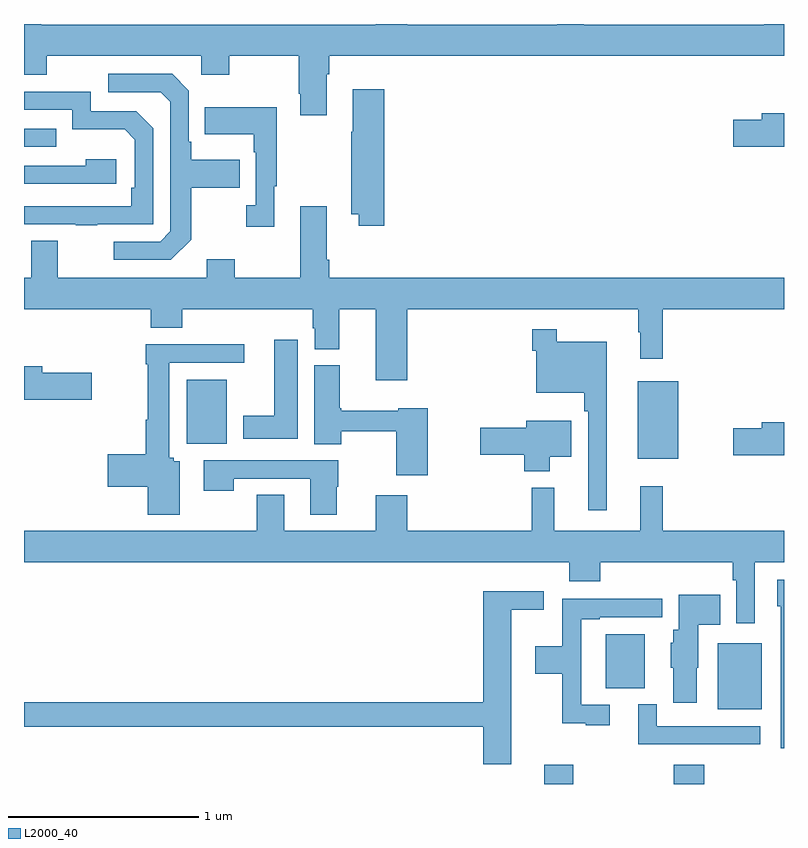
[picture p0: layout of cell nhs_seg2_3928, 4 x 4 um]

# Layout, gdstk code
import gdstk
lib = gdstk.Library(unit=1e-6, precision=1e-09)
def R(c, l, rs):  # rectangles x0, y0, x1, y1
    for r in rs: c.add(gdstk.rectangle(r[:2], r[2:], *l))
def P(c, l, *ps):  # polygons
    for p in ps: c.add(gdstk.Polygon(p, *l))
L2000_40 = (2000, 40)

nhs_seg2_3928 = lib.new_cell('nhs_seg2_3928')
R(nhs_seg2_3928, L2000_40, [(321.737,647.8,321.89,647.902), (322.421,647.8,322.581,647.902), (322.652,648.194,322.882,648.541), (322.061,648.305,322.267,648.589), (322.229,649.511,322.444,649.921), (319.856,649.592,320.068,649.927), (319,651.153,319.169,651.249)])
P(nhs_seg2_3928, L2000_40, [(320.593,651.536),(320.606,651.536),(320.606,651.632),(323,651.632),(323,651.8),(322.895,651.8),(322.895,651.796),(321.945,651.796),(321.945,651.8),(321.806,651.8),(321.806,651.796),(321.016,651.796),(321.016,651.8),(320.852,651.8),(320.852,651.796),(319.091,651.796),(319.091,651.8),(319,651.8),(319,651.533),(319.119,651.533),(319.119,651.632),(319.932,651.632),(319.932,651.533),(320.079,651.533),(320.079,651.632),(320.446,651.632),(320.446,651.433),(320.453,651.433),(320.453,651.321),(320.593,651.321)],
  [(319.879,650.665),(319.879,650.938),(320.135,650.938),(320.135,651.085),(319.879,651.085),(319.879,651.181),(319.866,651.181),(319.866,651.45),(319.779,651.537),(319.443,651.537),(319.443,651.441),(319.719,651.441),(319.77,651.39),(319.77,650.709),(319.716,650.655),(319.473,650.655),(319.473,650.559),(319.773,650.559)],
  [(320.897,651.457),(320.729,651.457),(320.729,651.233),(320.722,651.233),(320.722,650.798),(320.762,650.798),(320.762,650.739),(320.897,650.739)],
  [(319.385,650.745),(319.68,650.745),(319.68,651.252),(319.59,651.342),(319.35,651.342),(319.35,651.444),(319,651.444),(319,651.348),(319.254,651.348),(319.254,651.245),(319.531,651.245),(319.584,651.192),(319.584,650.938),(319.564,650.938),(319.564,650.841),(319,650.841),(319,650.745),(319.273,650.745),(319.273,650.74),(319.385,650.74)],
  [(320.317,650.945),(320.329,650.945),(320.329,651.361),(319.951,651.361),(319.951,651.221),(320.208,651.221),(320.208,651.125),(320.22,651.125),(320.22,650.846),(320.169,650.846),(320.169,650.733),(320.317,650.733)],
  [(323,651.331),(322.883,651.331),(322.883,651.297),(322.734,651.297),(322.734,651.155),(323,651.155)],
  [(319.486,651.088),(319.325,651.088),(319.325,651.054),(319,651.054),(319,650.958),(319.486,650.958)],
  [(321.016,650.3),(322.233,650.3),(322.233,650.177),(322.244,650.177),(322.244,650.037),(322.361,650.037),(322.361,650.3),(323,650.3),(323,650.464),(320.606,650.464),(320.606,650.56),(320.593,650.56),(320.593,650.842),(320.453,650.842),(320.453,650.464),(320.109,650.464),(320.109,650.563),(319.961,650.563),(319.961,650.464),(319.177,650.464),(319.177,650.659),(319.037,650.659),(319.037,650.464),(319,650.464),(319,650.3),(319.667,650.3),(319.667,650.201),(319.832,650.201),(319.832,650.3),(320.519,650.3),(320.519,650.199),(320.531,650.199),(320.531,650.089),(320.659,650.089),(320.659,650.3),(320.852,650.3),(320.852,649.926),(321.016,649.926)],
  [(322.066,650.128),(321.805,650.128),(321.805,650.194),(321.676,650.194),(321.676,650.081),(321.696,650.081),(321.696,649.859),(321.949,649.859),(321.949,649.763),(321.969,649.763),(321.969,649.242),(322.066,649.242)],
  [(320.44,650.137),(320.318,650.137),(320.318,649.738),(320.153,649.738),(320.153,649.616),(320.44,649.616)],
  [(319.819,649.5),(319.788,649.5),(319.788,649.518),(319.765,649.518),(319.765,650.016),(320.158,650.016),(320.158,650.114),(319.64,650.114),(319.64,650.009),(319.652,650.009),(319.652,649.718),(319.64,649.718),(319.64,649.535),(319.44,649.535),(319.44,649.364),(319.652,649.364),(319.652,649.218),(319.819,649.218)],
  [(321.124,649.777),(320.97,649.777),(320.97,649.765),(320.67,649.765),(320.67,649.777),(320.662,649.777),(320.662,650.004),(320.528,650.004),(320.528,649.588),(320.67,649.588),(320.67,649.656),(320.959,649.656),(320.959,649.425),(321.124,649.425)],
  [(319.357,649.965),(319.096,649.965),(319.096,649.999),(319,649.999),(319,649.823),(319.357,649.823)],
  [(321.766,649.523),(321.88,649.523),(321.88,649.711),(321.644,649.711),(321.644,649.676),(321.402,649.676),(321.402,649.534),(321.632,649.534),(321.632,649.445),(321.766,649.445)],
  [(323,649.703),(322.883,649.703),(322.883,649.673),(322.734,649.673),(322.734,649.531),(323,649.531)],
  [(320.647,649.365),(320.655,649.365),(320.655,649.503),(319.947,649.503),(319.947,649.344),(320.103,649.344),(320.103,649.407),(320.507,649.407),(320.507,649.218),(320.647,649.218)],
  [(322.845,648.968),(323,648.968),(323,649.132),(322.361,649.132),(322.361,649.366),(322.244,649.366),(322.244,649.132),(321.791,649.132),(321.791,649.36),(321.673,649.36),(321.673,649.132),(321.016,649.132),(321.016,649.321),(320.852,649.321),(320.852,649.132),(320.371,649.132),(320.371,649.322),(320.224,649.322),(320.224,649.132),(319,649.132),(319,648.968),(321.869,648.968),(321.869,648.866),(322.034,648.866),(322.034,648.968),(322.729,648.968),(322.729,648.872),(322.749,648.872),(322.749,648.645),(322.845,648.645)],
  [(323,648.874),(322.964,648.874),(322.964,648.735),(322.982,648.735),(322.982,647.987),(323,647.987)],
  [(321.565,648.716),(321.736,648.716),(321.736,648.814),(321.416,648.814),(321.416,648.23),(319,648.23),(319,648.102),(321.416,648.102),(321.416,647.904),(321.565,647.904)],
  [(322.54,648.411),(322.549,648.411),(322.549,648.638),(322.664,648.638),(322.664,648.796),(322.445,648.796),(322.445,648.612),(322.418,648.612),(322.418,648.543),(322.403,648.543),(322.403,648.411),(322.418,648.411),(322.418,648.228),(322.54,648.228)],
  [(322.084,648.216),(321.933,648.216),(321.933,648.666),(322.03,648.666),(322.03,648.678),(322.36,648.678),(322.36,648.776),(322.117,648.776),(322.117,648.774),(321.832,648.774),(321.832,648.526),(321.69,648.526),(321.69,648.379),(321.832,648.379),(321.832,648.119),(321.956,648.119),(321.956,648.108),(322.084,648.108)],
  [(322.876,648.105),(322.329,648.105),(322.329,648.22),(322.232,648.22),(322.232,648.009),(322.876,648.009)])

lib.write_gds('nhs_seg2_3928.gds')
